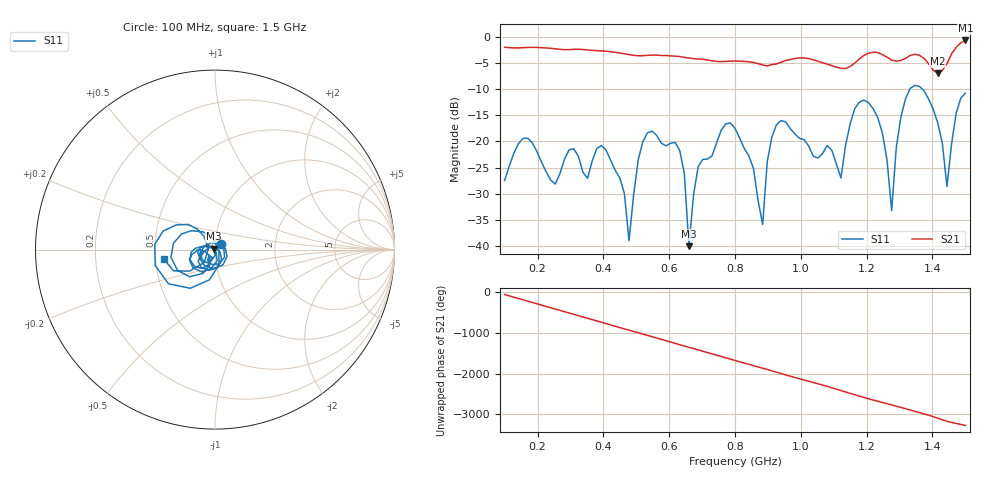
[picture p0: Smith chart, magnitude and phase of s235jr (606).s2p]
! NanoVNA-App
! Date: 2025-09-25 15:08:53
! Start: 100MHz Stop: 1,5GHz Points: 101
! S-Parameter data: F S11 S21 S12 S22
# Hz S RI R 50
!  Frequency  S11_Real  S11_Imag  S21_Real  S21_Imag  S12_Real  S12_Imag  S22_Real  S22_Imag
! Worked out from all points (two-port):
!   101 points, 100 MHz to 1.5 GHz, reference 50 ohm
!   highest |S21| = -0.66 dB at 1.5 GHz (marker M1); lowest = -6.9 dB at 1.416 GHz (marker M2)
!   |S21| within 3 dB of the highest: start of sweep to 615.7 MHz; 1.189 GHz to 1.256 GHz (67.33 MHz wide, 5.51 % of centre) (the widest 2 of 4)
!   lowest |S11| = -40.0 dB at 660 MHz (marker M3), VSWR 1.02, Z = 49.2 + j0.56 ohm
!   |S11| at or under -10 dB: start of sweep to 1.331 GHz; 1.37 GHz to end of sweep
!   S12 and S22 are empty: the file has one direction only
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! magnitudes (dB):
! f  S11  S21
! 100 MHz  -27.5  -2.0
! 156 MHz  -19.4  -2.0
! 338 MHz  -25.9  -2.4
! 408 MHz  -21.6  -2.7
! 478 MHz  -39.0  -3.4
! 520 MHz  -20.1  -3.6
! 576 MHz  -20.3  -3.5
! 632 MHz  -21.7  -3.7
! 660 MHz  -40.0  -4.0
! 688 MHz  -24.8  -4.2
! 800 MHz  -17.5  -4.6
! 884 MHz  -35.9  -5.4
! 926 MHz  -16.8  -5.1
! 1.038 GHz  -22.8  -4.4
! 1.122 GHz  -27.0  -6.0
! 1.206 GHz  -12.6  -3.1
! 1.248 GHz  -18.4  -3.4
! 1.276 GHz  -33.2  -4.4
! 1.332 GHz  -9.9  -3.5
! 1.416 GHz  -16.4  -6.9
! 1.444 GHz  -28.6  -5.1
! 1.5 GHz  -10.8  -0.7
